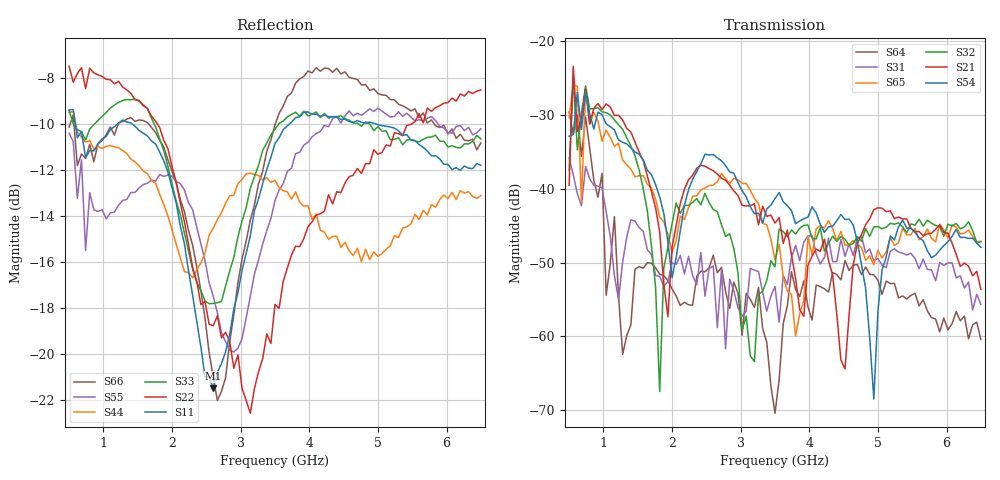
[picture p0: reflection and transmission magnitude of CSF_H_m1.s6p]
!Keysight Technologies,M9804A,MY58100912,A.14.10.03
!Date: Thursday, April 27, 2023 10:28:33
!Correction: S11(C  6-Port  )
!S12(C  6-Port  )
!S13(C  6-Port  )
!S14(C  6-Port  )
!S15(C  6-Port  )
!S16(C  6-Port  )
!S21(C  6-Port  )
!S22(C  6-Port  )
!S23(C  6-Port  )
!S24(C  6-Port  )
!S25(C  6-Port  )
!S26(C  6-Port  )
!S31(C  6-Port  )
!S32(C  6-Port  )
!S33(C  6-Port  )
!S34(C  6-Port  )
!S35(C  6-Port  )
!S36(C  6-Port  )
!S41(C  6-Port  )
!S42(C  6-Port  )
!S43(C  6-Port  )
!S44(C  6-Port  )
!S45(C  6-Port  )
!S46(C  6-Port  )
!S51(C  6-Port  )
!S52(C  6-Port  )
!S53(C  6-Port  )
!S54(C  6-Port  )
!S55(C  6-Port  )
!S56(C  6-Port  )
!S61(C  6-Port  )
!S62(C  6-Port  )
!S63(C  6-Port  )
!S64(C  6-Port  )
!S65(C  6-Port  )
!S66(C  6-Port  )
!S6P File: Measurement: :
# Hz S  RI  R 50
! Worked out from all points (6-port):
!   101 points, 500 MHz to 6.5 GHz, reference 50 ohm
!   strongest paths, dB at 500 MHz, 2 GHz, 3.5 GHz, 5 GHz, 6.5 GHz:
!     S54: -32.9, -52.1, -41.3, -56.6, -47.9
!     S21: -39.5, -47.9, -44.7, -42.6, -53.6
!     S32: -37.5, -44.8, -50.6, -45.1, -47.2
!     S65: -30.4, -48.7, -49.6, -48.4, -47.1
!     S31: -35.8, -50.0, -53.3, -49.4, -55.7
!     S64: -29.6, -53.6, -70.4, -52.4, -60.4
!   lowest |S11| = -21.5 dB at 2.6 GHz (marker M1), VSWR 1.18, Z = 42.5 + j2.14 ohm
!   |S11| at or under -10 dB: 590.9 MHz to 1.207 GHz (615.8 MHz wide, 68.5 % of centre); 1.422 GHz to 3.711 GHz (2.289 GHz wide, 89.2 % of centre); 4.973 GHz to end of sweep
